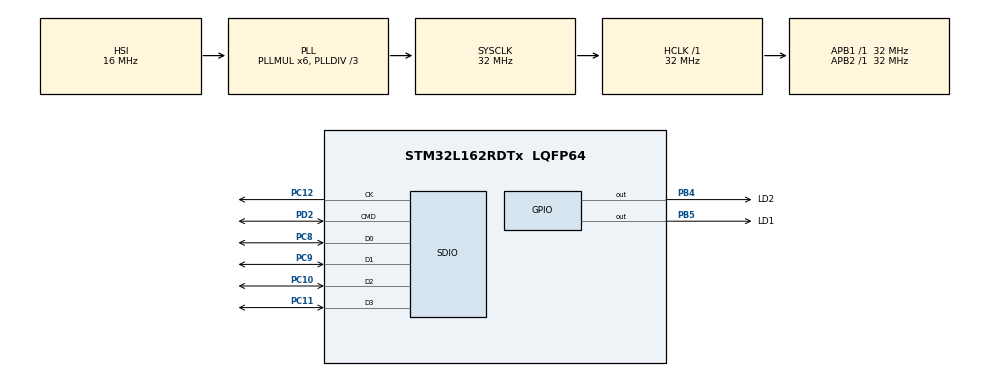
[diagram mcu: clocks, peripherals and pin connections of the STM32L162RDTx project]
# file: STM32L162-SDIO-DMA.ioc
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Dma.Request0=SD/MMC
Dma.SD/MMC.0.Direction=DMA_MEMORY_TO_PERIPH
Dma.SD/MMC.0.Instance=DMA2_Channel4
Dma.SD/MMC.0.MemDataAlignment=DMA_MDATAALIGN_WORD
Dma.SD/MMC.0.MemInc=DMA_MINC_ENABLE
Dma.SD/MMC.0.Mode=DMA_NORMAL
Dma.SD/MMC.0.PeriphDataAlignment=DMA_PDATAALIGN_WORD
Dma.SD/MMC.0.PeriphInc=DMA_PINC_DISABLE
Dma.SD/MMC.0.Priority=DMA_PRIORITY_LOW
FATFS.USE_DMA_CODE_SD=1
FATFS._FS_NORTC=1
FATFS._FS_TIMEOUT=100
FATFS._MAX_SS=1024
FATFS._NORTC_MDAY=19
FATFS._NORTC_MON=12
FATFS._NORTC_YEAR=2019
Mcu.Family=STM32L1
Mcu.Name=STM32L162RDTx
Mcu.Package=LQFP64
NVIC.DMA2_Channel4_IRQn=true\:5\:0\:true\:false\:true\:false\:true
NVIC.PriorityGroup=NVIC_PRIORITYGROUP_4
NVIC.SDIO_IRQn=true\:5\:0\:true\:false\:true\:true\:true
PB4.GPIO_Label=LD2
PB4.Signal=GPIO_Output
PB5.GPIO_Label=LD1
PB5.Signal=GPIO_Output
PC10.Mode=SD_4_bits_Wide_bus
PC10.Signal=SDIO_D2
PC11.Mode=SD_4_bits_Wide_bus
PC11.Signal=SDIO_D3
PC12.Mode=SD_4_bits_Wide_bus
PC12.Signal=SDIO_CK
PC8.Mode=SD_4_bits_Wide_bus
PC8.Signal=SDIO_D0
PC9.Mode=SD_4_bits_Wide_bus
PC9.Signal=SDIO_D1
PD2.Mode=SD_4_bits_Wide_bus
PD2.Signal=SDIO_CMD
ProjectManager.HeapSize=0x2000
ProjectManager.StackSize=0x4000
ProjectManager.TargetToolchain=STM32CubeIDE
RCC.48MHZClocksFreq_Value=48000000
RCC.AHBFreq_Value=32000000
RCC.APB1Freq_Value=32000000
RCC.APB1TimFreq_Value=32000000
RCC.APB2Freq_Value=32000000
RCC.APB2TimFreq_Value=32000000
RCC.HCLKFreq_Value=32000000
RCC.HSE_VALUE=24000000
RCC.HSI_VALUE=16000000
RCC.LSE_VALUE=32768
RCC.MSI_VALUE=2097000
RCC.PLLDIV=RCC_PLL_DIV3
RCC.PLLMUL=RCC_PLL_MUL6
RCC.SYSCLKFreq_VALUE=32000000
RCC.SYSCLKSource=RCC_SYSCLKSOURCE_PLLCLK
RCC.VCOOutputFreq_Value=96000000
SDIO.ClockDiv=15
VP_FATFS_VS_SDIO.Mode=SDIO
board=custom

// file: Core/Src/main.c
/* USER CODE BEGIN Header */
/**
  ******************************************************************************
  * @file           : main.c
  * @brief          : Main program body
  ******************************************************************************
  * @attention
  *
  * <h2><center>&copy; Copyright (c) 2019 STMicroelectronics.
  * All rights reserved.</center></h2>
  *
  * This software component is licensed by ST under BSD 3-Clause license,
  * the "License"; You may not use this file except in compliance with the
  * License. You may obtain a copy of the License at:
  *                        opensource.org/licenses/BSD-3-Clause
  *
  ******************************************************************************
  */
/* USER CODE END Header */

#include "main.h"
#include "fatfs.h"

SD_HandleTypeDef hsd;
DMA_HandleTypeDef hdma_sd_mmc;

/* USER CODE BEGIN PV */
char SDPath[4];   /* SD logical drive path */
FATFS SDFatFS __attribute__ ((aligned(4)));    /* File system object for SD logical drive */
FIL SDFile __attribute__ ((aligned(4)));
FRESULT res;
uint8_t wtext[] = "dma test8 using HAL_DMA_IRQHandler passing hsd.hdmarx and hsd.dmatx directly instead of  BSP_SD_DMA_Tx_IRQHandle and  BSP_SD_DMA_Rx_IRQHandle"; /* File write buffer */
uint32_t byteswritten;

/* USER CODE END PV */

void SystemClock_Config(void);
static void MX_GPIO_Init(void);
static void MX_DMA_Init(void);
static void MX_SDIO_SD_Init(void);

int main(void)
{

  /* MCU Configuration--------------------------------------------------------*/

  /* Reset of all peripherals, Initializes the Flash interface and the Systick. */
  HAL_Init();

  /* Configure the system clock */
  SystemClock_Config();

  /* Initialize all configured peripherals */
  MX_GPIO_Init();
  MX_DMA_Init();
  MX_SDIO_SD_Init();
  MX_FATFS_Init();
  /* USER CODE BEGIN 2 */

  // 1. Register a work area
        res = f_mount(&SDFatFS, (TCHAR const*) SDPath, 0);
        if (res == FR_OK){
        	HAL_GPIO_WritePin(LD1_GPIO_Port, LD1_Pin, GPIO_PIN_SET);
        	// 2. Creating a new file for writing/reading later
        	res = f_open(&SDFile, "test8.txt", FA_CREATE_ALWAYS | FA_WRITE); //Writing
        	if(res == FR_OK){
        		HAL_GPIO_WritePin(LD2_GPIO_Port, LD2_Pin, GPIO_PIN_SET);
        		res = f_write(&SDFile, wtext, sizeof(wtext), (void *) &byteswritten);

        		if((res != FR_OK) || (byteswritten == 0)){
        			HAL_GPIO_WritePin(LD1_GPIO_Port, LD1_Pin, GPIO_PIN_RESET);
        		    HAL_GPIO_WritePin(LD2_GPIO_Port, LD2_Pin, GPIO_PIN_RESET);
        		}
        	}
        	f_close(&SDFile);
        }
  /* USER CODE END 2 */

  /* Infinite loop */
  while (1)
  {

  }
}

void SystemClock_Config(void)
{
  RCC_OscInitTypeDef RCC_OscInitStruct = {0};
  RCC_ClkInitTypeDef RCC_ClkInitStruct = {0};

  /** Configure the main internal regulator output voltage
  */
  __HAL_PWR_VOLTAGESCALING_CONFIG(PWR_REGULATOR_VOLTAGE_SCALE1);
  /** Initializes the CPU, AHB and APB busses clocks
  */
  RCC_OscInitStruct.OscillatorType = RCC_OSCILLATORTYPE_HSI;
  RCC_OscInitStruct.HSIState = RCC_HSI_ON;
  RCC_OscInitStruct.HSICalibrationValue = RCC_HSICALIBRATION_DEFAULT;
  RCC_OscInitStruct.PLL.PLLState = RCC_PLL_ON;
  RCC_OscInitStruct.PLL.PLLSource = RCC_PLLSOURCE_HSI;
  RCC_OscInitStruct.PLL.PLLMUL = RCC_PLL_MUL6;
  RCC_OscInitStruct.PLL.PLLDIV = RCC_PLL_DIV3;
  if (HAL_RCC_OscConfig(&RCC_OscInitStruct) != HAL_OK)
  {
    Error_Handler();
  }
  /** Initializes the CPU, AHB and APB busses clocks
  */
  RCC_ClkInitStruct.ClockType = RCC_CLOCKTYPE_HCLK|RCC_CLOCKTYPE_SYSCLK
                              |RCC_CLOCKTYPE_PCLK1|RCC_CLOCKTYPE_PCLK2;
  RCC_ClkInitStruct.SYSCLKSource = RCC_SYSCLKSOURCE_PLLCLK;
  RCC_ClkInitStruct.AHBCLKDivider = RCC_SYSCLK_DIV1;
  RCC_ClkInitStruct.APB1CLKDivider = RCC_HCLK_DIV1;
  RCC_ClkInitStruct.APB2CLKDivider = RCC_HCLK_DIV1;

  if (HAL_RCC_ClockConfig(&RCC_ClkInitStruct, FLASH_LATENCY_1) != HAL_OK)
  {
    Error_Handler();
  }
}

static void MX_SDIO_SD_Init(void)
{

  hsd.Instance = SDIO;
  hsd.Init.ClockEdge = SDIO_CLOCK_EDGE_RISING;
  hsd.Init.ClockBypass = SDIO_CLOCK_BYPASS_DISABLE;
  hsd.Init.ClockPowerSave = SDIO_CLOCK_POWER_SAVE_DISABLE;
  hsd.Init.BusWide = SDIO_BUS_WIDE_1B;
  hsd.Init.HardwareFlowControl = SDIO_HARDWARE_FLOW_CONTROL_DISABLE;
  hsd.Init.ClockDiv = 0;

}

static void MX_DMA_Init(void)
{

  /* DMA controller clock enable */
  __HAL_RCC_DMA2_CLK_ENABLE();

  /* DMA interrupt init */
  /* DMA2_Channel4_IRQn interrupt configuration */
  HAL_NVIC_SetPriority(DMA2_Channel4_IRQn, 5, 0);
  HAL_NVIC_EnableIRQ(DMA2_Channel4_IRQn);

}

static void MX_GPIO_Init(void)
{
  GPIO_InitTypeDef GPIO_InitStruct = {0};

  /* GPIO Ports Clock Enable */
  __HAL_RCC_GPIOC_CLK_ENABLE();
  __HAL_RCC_GPIOD_CLK_ENABLE();
  __HAL_RCC_GPIOB_CLK_ENABLE();

  /*Configure GPIO pin Output Level */
  HAL_GPIO_WritePin(GPIOB, LD2_Pin|LD1_Pin, GPIO_PIN_RESET);

  /*Configure GPIO pins : LD2_Pin LD1_Pin */
  GPIO_InitStruct.Pin = LD2_Pin|LD1_Pin;
  GPIO_InitStruct.Mode = GPIO_MODE_OUTPUT_PP;
  GPIO_InitStruct.Pull = GPIO_NOPULL;
  GPIO_InitStruct.Speed = GPIO_SPEED_FREQ_LOW;
  HAL_GPIO_Init(GPIOB, &GPIO_InitStruct);

}

void Error_Handler(void)
{
}

/************************ (C) COPYRIGHT STMicroelectronics *****END OF FILE****/
